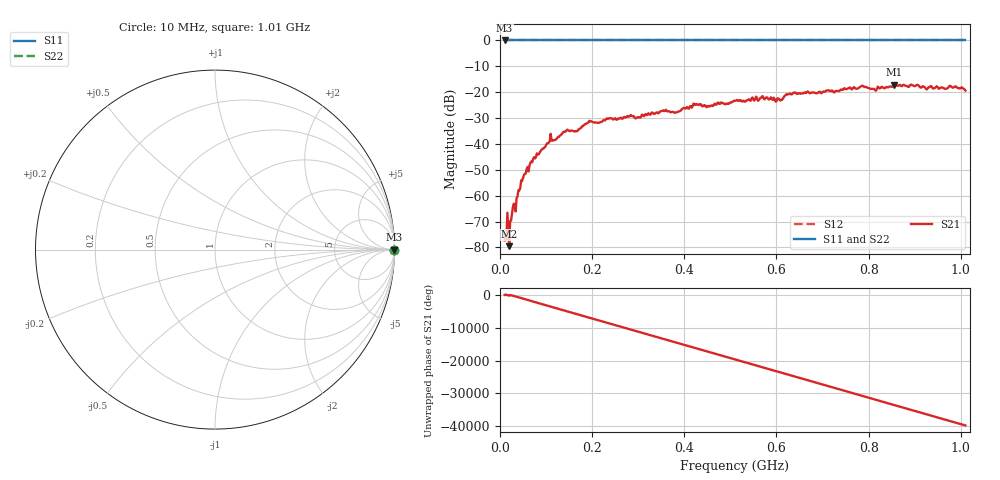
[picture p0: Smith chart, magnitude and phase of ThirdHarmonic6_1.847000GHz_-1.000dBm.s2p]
! 8/16/2025 10:21:17 PM
! C:\ANRITSUVNA\TEMP\TEMP.S2P
! CHANNEL.1
! TR.MEASUREMENT
! RAW.DATA
! RF.CORRECTION.OFF
! AVERAGING.OFF
! IF.BANDWIDTH: 5KHZ
! SWEEPTYPE:  FREQ.SWEEP(Linear)
! Reference Plane Port Info
! PORT:  PORT1  PORT2
! DISTANCE:  0  m  0  m
! TIME:  0  s  0  s
! PHASE.OFFSET:  0  deg.  0  deg.
! LOSS:  0  dB  0  dB
! REF.LOSS:  0  dB  0  dB
! REF.FREQ:  0  Hz  0  Hz
! Power Info
! POWER:  -20  dBm  -20  dBm
! EFF.POWER:  -20  dBm  -20  dBm
! SOURCE.ATTEN:  0  dB  0  dB
! TEST.ATTEN:  0  dB  0  dB
# GHZ S RI R 50.0
! FREQ.GHZ  S11RE  S11IM  S21RE  S21IM  S12RE  S12IM  S22RE  S22IM
!; PortSelection: Port_12
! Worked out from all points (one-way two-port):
!   501 points, 10 MHz to 1.01 GHz, reference 50 ohm
!   highest |S21| = -17.03 dB at 856 MHz (marker M1); lowest = -79.5 dB at 20 MHz (marker M2)
!   lowest |S11| = 0.0 dB at 10 MHz (marker M3)
!   |S11| at or under -10 dB: nowhere
!   |S22| runs from 0.0 to 0.0 dB; largest |S21 - S12| = 1.1
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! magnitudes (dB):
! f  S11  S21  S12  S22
! 10 MHz  0.0  -77.3  0.0  0.0
! 12 MHz  0.0  -75.6  0.0  0.0
! 16 MHz  0.0  -66.6  0.0  0.0
! 20 MHz  0.0  -79.5  0.0  0.0
! 22 MHz  0.0  -69.8  0.0  0.0
! 26 MHz  0.0  -67.0  0.0  0.0
! 50 MHz  0.0  -53.1  0.0  0.0
! 70 MHz  0.0  -47.0  0.0  0.0
! 106 MHz  0.0  -39.4  0.0  0.0
! 142 MHz  0.0  -35.3  0.0  0.0
! 164 MHz  0.0  -35.0  0.0  0.0
! 178 MHz  0.0  -33.1  0.0  0.0
! 196 MHz  0.0  -31.3  0.0  0.0
! 344 MHz  0.0  -28.1  0.0  0.0
! 382 MHz  0.0  -27.8  0.0  0.0
! 510 MHz  0.0  -23.3  0.0  0.0
! 610 MHz  0.0  -22.9  0.0  0.0
! 626 MHz  0.0  -20.8  0.0  0.0
! 678 MHz  0.0  -20.1  0.0  0.0
! 844 MHz  0.0  -18.0  0.0  0.0
! 856 MHz  0.0  -17.0  0.0  0.0
! 1.01 GHz  0.0  -19.3  0.0  0.0
